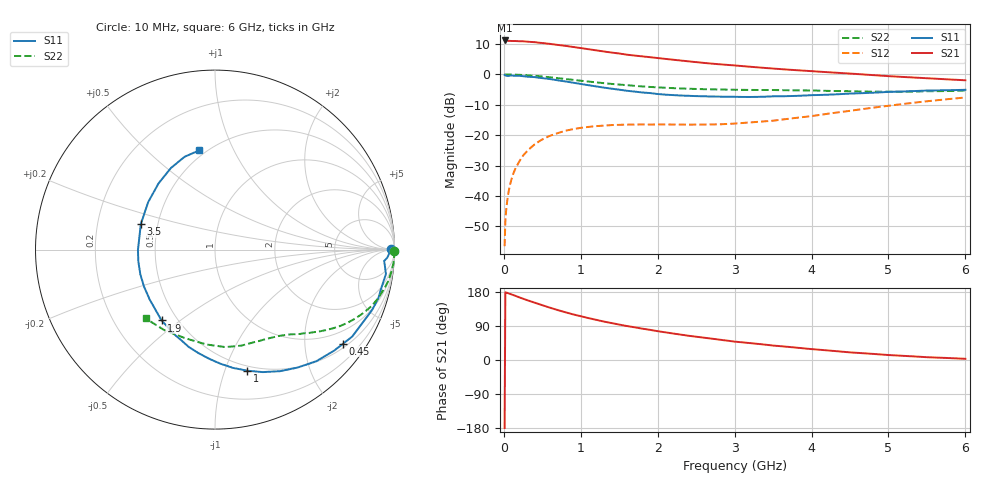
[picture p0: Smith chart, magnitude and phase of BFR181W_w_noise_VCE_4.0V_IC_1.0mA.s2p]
! Infineon Technologies  Discrete & RF Semiconductors
! BFR181W
! VCE =  4.0 V,  IC =  1.0 mA
! Common Emitter S-Parameters:  Jan 2017
# GHz  S  MA  R  50
!  f  S11  S21  S12  S22
! GHz  MAG  ANG  MAG  ANG  MAG  ANG  MAG  ANG
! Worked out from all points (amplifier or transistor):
!   77 points, 10 MHz to 6 GHz, reference 50 ohm
!   highest |S21| = 11.2 dB at 10 MHz (marker M1)
!   |S21| within 3 dB of that: start of sweep to 1.133 GHz
!   unconditionally stable (mu >= 1): 2.293 GHz to 4.42 GHz
!   at 130 MHz: K = 0.05, MSG = 21.6 dB, |S12| = -32.2 dB
!   at 2.2 GHz: K = 0.96, MSG = 10.7 dB, |S12| = -16.5 dB
!   at 6 GHz: K = 0.86, MSG = 2.8 dB, |S12| = -7.6 dB
!   lowest NFmin = 0.87 dB at 450 MHz
!   S11 on the Smith chart (normalised r, x): 10 MHz: open; 450 MHz: 0.61, -2.95; 1 GHz: 0.45, -1.20; 1.9 GHz: 0.41, -0.43; 3.5 GHz: 0.40, +0.14; 6 GHz: 0.46, +0.74
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0.01  0.9817 0.1  3.626 -179.5  0.0015 95.0  1 -0.4
0.02  0.9598 -2.8  3.592 178.7  0.0039 85.3  1 -0.6
0.04  0.9496 -3.5  3.584 177.4  0.0076 88.5  1 -1.6
0.07  0.951 -5.5  3.568 175.2  0.0133 86.7  0.9983 -2.9
0.11  0.9596 -9.0  3.552 172.3  0.0209 84.1  0.9964 -4.6
0.25  0.9384 -20.8  3.512 161.7  0.0464 76.6  0.9805 -10.4
0.45  0.8858 -36.2  3.338 148.0  0.0781 66.4  0.9383 -18.1
0.6  0.8402 -47.7  3.185 138.0  0.0981 59.7  0.8992 -23.1
0.7  0.8019 -55.1  3.063 131.8  0.1085 55.8  0.8715 -26.1
0.8  0.7679 -61.9  2.957 126.0  0.1186 52.3  0.8427 -29.0
1  0.6986 -75.0  2.717 115.5  0.1325 45.8  0.7891 -33.8
1.1  0.6664 -81.4  2.604 110.6  0.1373 43.5  0.7655 -35.8
1.3  0.608 -93.3  2.389 101.4  0.1442 39.2  0.7197 -39.7
1.5  0.5621 -105.0  2.213 93.5  0.1485 36.2  0.6819 -43.1
1.9  0.4946 -127.0  1.923 79.6  0.1499 33.4  0.6237 -49.4
2.1  0.4657 -137.4  1.804 73.0  0.1505 33.2  0.6047 -52.4
2.4  0.4459 -152.6  1.645 64.0  0.1496 34.4  0.5829 -57.4
3.1  0.4269 176.4  1.373 46.6  0.1591 43.1  0.5586 -68.2
3.5  0.437 161.1  1.251 38.1  0.1737 48.8  0.5548 -74.7
4.1  0.46 141.7  1.112 27.1  0.2158 53.8  0.5416 -86.1
5.1  0.521 116.2  0.924 12.0  0.3168 52.6  0.5204 -111.2
6  0.5597 99.0  0.802 3.2  0.4183 44.6  0.5445 -135.2
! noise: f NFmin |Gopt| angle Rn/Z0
0.45  0.87  0.69  18  0.51
0.9  0.95  0.64  36  0.47
1.9  1.56  0.44  83  0.32
2.4  1.81  0.38  99  0.34
